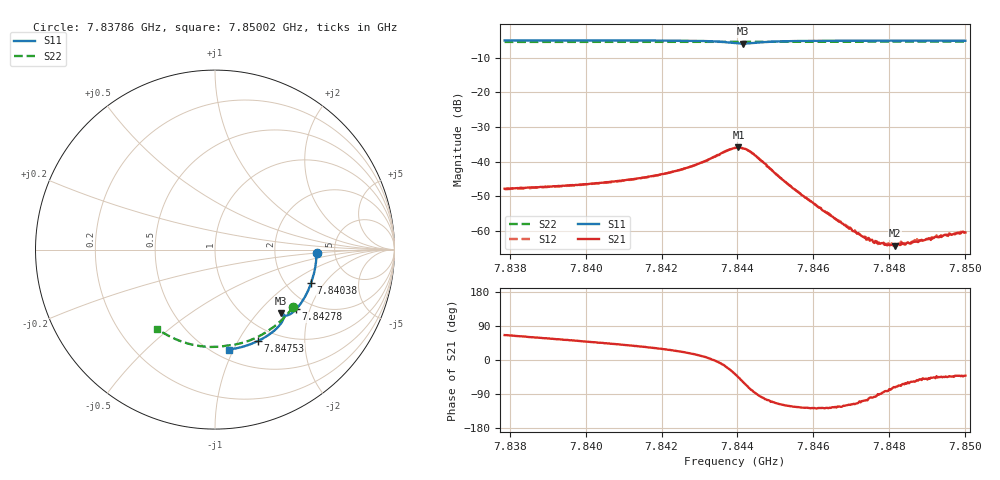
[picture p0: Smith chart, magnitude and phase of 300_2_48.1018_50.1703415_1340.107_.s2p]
#  HZ  S  RI  R  50.00
! Rohde & Schwarz Vector Network Analyzer
! Rohde-Schwarz,ZNB20-2Port,1311601062101988,3.16
! Created: UTC 12/23/2023, 4:04:39 AM
! freq[Hz]  re:S11  im:S11  re:S21  im:S21  re:S12  im:S12  re:S22  im:S22
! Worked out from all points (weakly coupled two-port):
!   401 points, 7.83786 GHz to 7.85002 GHz, reference 50 ohm
!   highest |S21| = -35.94 dB at 7.84403 GHz (marker M1); lowest = -64.4 dB at 7.84817 GHz (marker M2)
!   lowest |S11| = -5.8 dB at 7.84415 GHz (marker M3), VSWR 3.10, Z = 70.6 - j67.7 ohm
!   |S11| at or under -10 dB: nowhere
!   |S22| runs from -5.4 to -5.3 dB; largest |S21 - S12| = 0.00037
!   S11 on the Smith chart (normalised r, x): 7.83786 GHz: 3.60, -0.22; 7.84038 GHz: 2.71, -1.49; 7.84278 GHz: 1.66, -1.62; 7.84753 GHz: 0.82, -1.22; 7.85002 GHz: 0.59, -0.96
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7.837857e9  0.5662 -0.0211  0.00166 0.00368  0.00169 0.00364  0.4348 -0.3202
7.839895e9  0.5451 -0.1553  0.00302 0.00354  0.00296 0.00351  0.3365 -0.4231
7.840381e9  0.5352 -0.1866  0.00345 0.0035  0.00341 0.00346  0.3093 -0.4437
7.841932e9  0.4893 -0.2831  0.00553 0.00322  0.00551 0.00323  0.2145 -0.4971
7.842783e9  0.4515 -0.3331  0.0081 0.00249  0.0081 0.00256  0.1582 -0.5179
7.843513e9  0.403 -0.3667  0.0124 -0.00139  0.0123 -0.00129  0.1082 -0.5295
7.843939e9  0.3716 -0.3626  0.0126 -0.00949  0.0127 -0.0094  0.0797 -0.533
7.84403e9  0.369 -0.3583  0.0111 -0.0115  0.0112 -0.0113  0.074 -0.5336
7.844152e9  0.3697 -0.3538  0.00819 -0.0132  0.00838 -0.0131  0.0665 -0.5347
7.844395e9  0.3788 -0.3556  0.00217 -0.013  0.00206 -0.013  0.051 -0.5374
7.845277e9  0.3653 -0.4148  -0.0025 -0.00434  -0.00248 -0.00436  -0.0104 -0.5429
7.845976e9  0.33 -0.4517  -0.00153 -0.00207  -0.00158 -0.00208  -0.0597 -0.5403
7.846554e9  0.2973 -0.4761  -0.000867 -0.00125  -0.000864 -0.00126  -0.1001 -0.5346
7.847101e9  0.2653 -0.4958  -0.000429 -0.000859  -0.000412 -0.000922  -0.1376 -0.5267
7.847375e9  0.2487 -0.5046  -0.000233 -0.000762  -0.000213 -0.000784  -0.1563 -0.5217
7.847527e9  0.2394 -0.509  -0.000107 -0.000723  -0.000172 -0.000726  -0.1665 -0.5187
7.84777e9  0.2246 -0.516  4.8e-06 -0.000642  -3.05e-06 -0.00067  -0.1828 -0.5131
7.848013e9  0.2094 -0.5224  0.000141 -0.000599  0.000134 -0.000627  -0.1989 -0.5073
7.848165e9  0.2001 -0.5262  0.000185 -0.000577  0.000201 -0.000612  -0.2089 -0.5034
7.848561e9  0.1751 -0.5351  0.000338 -0.000555  0.000323 -0.000568  -0.2341 -0.4925
7.849321e9  0.1261 -0.5484  0.000569 -0.000565  0.000578 -0.000555  -0.2814 -0.4676
7.85002e9  0.0802 -0.5567  0.000705 -0.000619  0.000723 -0.000618  -0.3223 -0.4408
